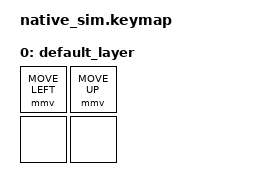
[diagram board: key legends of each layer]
#include <input/processors.dtsi>
#include <behaviors.dtsi>
#include <dt-bindings/zmk/keys.h>
#include <dt-bindings/zmk/input_mock.h>
#include <dt-bindings/zmk/pointing.h>
#include <dt-bindings/zmk/input_transform.h>

&mmv_input_listener {
    input-processors = <&zip_xy_transform (INPUT_TRANSFORM_X_INVERT | INPUT_TRANSFORM_Y_INVERT)>;
};

/ {
    keymap {
        compatible = "zmk,keymap";
        label ="Default keymap";

        default_layer {
            bindings = <
                &mmv MOVE_LEFT &mmv MOVE_UP
                &none &none
            >;
        };
    };
};


&mock_input {
    events = <
        ZMK_INPUT_MOCK_PRESS(0,0,10)
        ZMK_INPUT_MOCK_PRESS(0,1,100)
        ZMK_INPUT_MOCK_RELEASE(0,0,10)
        ZMK_INPUT_MOCK_RELEASE(0,1,10)
    >;
};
